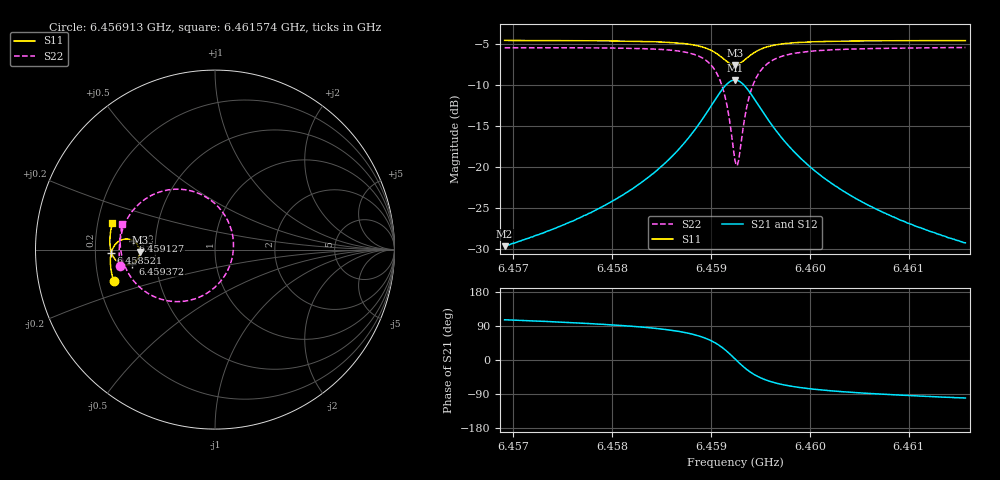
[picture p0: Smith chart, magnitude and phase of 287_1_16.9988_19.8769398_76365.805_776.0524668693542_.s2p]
#  HZ  S  RI  R  50.00
! Rohde & Schwarz Vector Network Analyzer
! Rohde-Schwarz,ZNB20-2Port,1311601062101988,3.16
! Created: UTC 3/20/2024, 11:04:56 PM
! freq[Hz]  re:S11  im:S11  re:S21  im:S21  re:S12  im:S12  re:S22  im:S22
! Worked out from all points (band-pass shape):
!   401 points, 6.456913 GHz to 6.461574 GHz, reference 50 ohm
!   highest |S21| = -9.37 dB at 6.459244 GHz (marker M1); lowest = -29.6 dB at 6.456913 GHz (marker M2)
!   |S21| within 3 dB of the highest: 6.45901 GHz to 6.459477 GHz (466.3 kHz wide, 0.00722 % of centre)
!   lowest |S11| = -7.5 dB at 6.459244 GHz (marker M3), VSWR 2.45, Z = 20.4 - j0.624 ohm
!   |S11| at or under -10 dB: nowhere
!   |S22| runs from -19.8 to -5.4 dB; largest |S21 - S12| = 0.013
!   S11 on the Smith chart (normalised r, x): 6.456913 GHz: 0.26, -0.14; 6.458521 GHz: 0.27, -0.02; 6.459127 GHz: 0.37, +0.05; 6.459372 GHz: 0.37, -0.07; 6.461574 GHz: 0.26, +0.12
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6.456913e9  -0.565 -0.1777  -0.00918 0.0318  -0.00749 0.0318  -0.5269 -0.0918
6.4576937e9  -0.5797 -0.1096  -0.00622 0.0496  -0.00369 0.049  -0.534 -0.00188
6.4581249e9  -0.5831 -0.0668  -0.000382 0.0688  0.00275 0.0675  -0.527 0.0652
6.4584744e9  -0.5796 -0.0253  0.0128 0.0974  0.0167 0.0946  -0.5033 0.1427
6.4585211e9  -0.5782 -0.019  0.016 0.1028  0.0202 0.0999  -0.4972 0.1558
6.4587308e9  -0.5664 0.013  0.0416 0.1343  0.0459 0.1297  -0.45 0.2271
6.4588823e9  -0.5454 0.0393  0.0833 0.1645  0.0869 0.1581  -0.3734 0.2914
6.4590338e9  -0.4998 0.0592  0.174 0.184  0.1752 0.1766  -0.2088 0.3367
6.459127e9  -0.4556 0.0494  0.2629 0.1541  0.2632 0.1481  -0.0449 0.2894
6.4591736e9  -0.4346 0.0308  0.3061 0.1121  0.3074 0.1069  0.0374 0.2155
6.4592435e9  -0.4198 -0.0126  0.3397 0.0169  0.3432 0.0102  0.1027 0.04
6.4592668e9  -0.4215 -0.0285  0.338 -0.0178  0.3416 -0.0259  0.0994 -0.0253
6.4592785e9  -0.4235 -0.036  0.3345 -0.0346  0.3382 -0.0436  0.0928 -0.0572
6.4593717e9  -0.4606 -0.0779  0.2659 -0.1345  0.265 -0.1474  -0.0444 -0.2427
6.4594183e9  -0.4832 -0.0847  0.2222 -0.1572  0.2187 -0.1697  -0.1312 -0.2798
6.4594766e9  -0.5082 -0.0838  0.1738 -0.1667  0.1675 -0.1775  -0.2264 -0.2896
6.4596281e9  -0.5491 -0.0623  0.0918 -0.1512  0.0836 -0.1571  -0.3817 -0.2387
6.4597912e9  -0.5693 -0.0349  0.0496 -0.1244  0.0423 -0.1271  -0.4571 -0.1696
6.4600243e9  -0.5811 -0.00124  0.0227 -0.0955  0.017 -0.0961  -0.5015 -0.0933
6.4603389e9  -0.5856 0.0361  0.00773 -0.0713  0.00366 -0.0709  -0.5223 -0.022
6.460805e9  -0.5838 0.0831  -0.00104 -0.0511  -0.00384 -0.0503  -0.5282 0.0523
6.4615741e9  -0.5715 0.1509  -0.0062 -0.0341  -0.00795 -0.0332  -0.5176 0.1419
